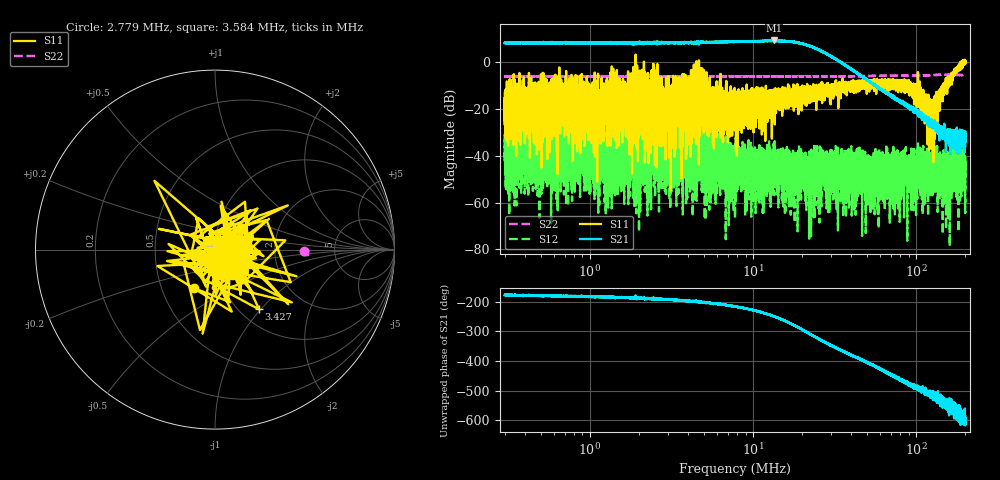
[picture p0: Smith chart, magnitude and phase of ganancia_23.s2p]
# Hz S DB R 50
! CMT, M5065, 19127446, 24.2.4/2
! Date: 11/1/2024 3:25:27 PM
! Data: Format (Calibration Info)
! Freq	S11:dB/Ang(F2)	S21:dB/Ang(F2)	S12:dB/Ang(F2)	S22:dB/Ang(F2)
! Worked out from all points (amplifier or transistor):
!   9000 points, 300 kHz to 200 MHz, reference 50 ohm
!   highest |S21| = 9.4 dB at 13.42 MHz (marker M1)
!   |S21| within 3 dB of that: start of sweep to 23.49 MHz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
!   unconditionally stable (mu >= 1): 4.658 MHz to 185.6 MHz; 185.8 MHz to 188.8 MHz; 189 MHz to 190.9 MHz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
!   at 886.8 kHz: K = 21.36, MAG = 9.6 dB, |S12| = -43.6 dB
!   at 7.749 MHz: K = 293.91, MAG = 10.1 dB, |S12| = -66.8 dB
!   at 200 MHz: K = -436.07, MSG = 7.2 dB, |S12| = -46.0 dB
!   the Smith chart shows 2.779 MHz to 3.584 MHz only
!   S11 on the Smith chart (normalised r, x): 2.779 MHz: 0.72, -0.33; 3.427 MHz: 1.22, -0.98; 3.584 MHz: 1.30, +0.07
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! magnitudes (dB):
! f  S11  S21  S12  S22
! 300 kHz  -15.3  8.3  -39.1  -6.0
! 457.5 kHz  -27.6  8.4  -35.0  -6.0
! 501.8 kHz  -16.9  8.3  -55.0  -6.0
! 886.8 kHz  -15.0  8.2  -43.6  -6.0
! 1.128 MHz  -17.0  8.4  -33.7  -6.0
! 1.19 MHz  -14.2  8.2  -44.0  -6.1
! 1.29 MHz  -18.8  8.3  -38.8  -6.1
! 2.244 MHz  -4.8  8.8  -22.1  -6.1
! 2.621 MHz  -28.2  8.4  -44.9  -6.0
! 2.779 MHz  -12.2  8.5  -38.1  -6.1
! 3.427 MHz  -7.7  8.4  -26.8  -6.1
! 3.584 MHz  -17.5  8.3  -41.6  -6.0
! 4.969 MHz  -18.0  8.5  -41.5  -6.0
! 5.306 MHz  -30.0  8.6  -55.3  -6.0
! 7.749 MHz  -18.8  8.8  -66.8  -6.0
! 13.42 MHz  -11.5  9.4  -40.3  -5.9
! 22.91 MHz  -12.7  6.6  -42.1  -5.9
! 67.71 MHz  -8.2  -13.8  -42.9  -5.7
! 102.7 MHz  -12.1  -21.4  -43.5  -5.6
! 123.8 MHz  -20.1  -24.9  -46.1  -5.4
! 147 MHz  -9.0  -29.5  -40.8  -5.3
! 200 MHz  0.7  -31.6  -46.0  -5.4
